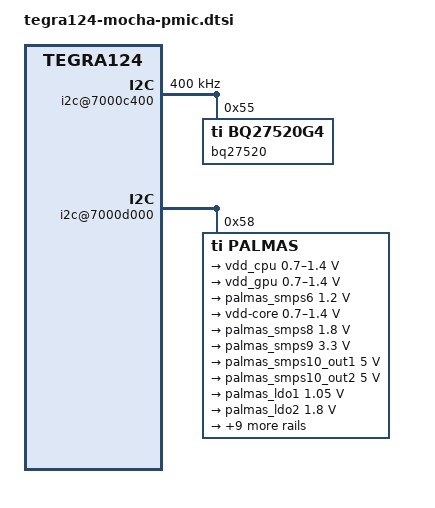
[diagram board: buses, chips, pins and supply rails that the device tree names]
/*
 * arch/arm/boot/dts/tegra124-mocha-pmic.dtsi
 *
 * Copyright (c) 2018, Alexandrov Dmitry.  All rights reserved.
 *
 * This program is free software; you can redistribute it and/or modify
 * it under the terms of the GNU General Public License as published by
 * the Free Software Foundation; either version 2 of the License, or
 * (at your option) any later version.
 *
 * This program is distributed in the hope that it will be useful, but WITHOUT
 * ANY WARRANTY; without even the implied warranty of MERCHANTABILITY or
 * FITNESS FOR A PARTICULAR PURPOSE.  See the GNU General Public License for
 * more details.
 *
 * You should have received a copy of the GNU General Public License along
 * with this program; if not, write to the Free Software Foundation, Inc.,
 * 51 Franklin Street, Fifth Floor, Boston, MA  02110-1301, USA.
 */

 #include <dt-bindings/gpio/tegra-gpio.h>

/ {
	i2c@7000c400 {
		status = "okay";
		clock-frequency = <400000>;

		bq27520@55 {
			compatible = "ti,bq27520g4";
			reg = <0x55>;

			
		};
	};

	i2c@7000d000 {
		palmas: tps65913@58 {
			compatible = "ti,palmas";
			reg = <0x58>;
			interrupts = <0 86 IRQ_TYPE_LEVEL_HIGH>;

			#interrupt-cells = <2>;
			interrupt-controller;
			
			ti,system-power-controller;

			palmas_gpio: gpio {
				compatible = "ti,palmas-gpio";
				gpio-controller;
				#gpio-cells = <2>;
			};

			rtc {
				compatible = "ti,palmas-rtc";
				interrupt-parent = <&palmas>;
				interrupts = <8 0>;
			};

			pinmux {
				compatible = "ti,tps65913-pinctrl";
				pinctrl-names = "default";
				pinctrl-0 = <&palmas_default>;

				palmas_default: pinmux {
					powergood {
						pins = "powergood";
						function = "powergood";
					};

					vac {
						pins = "vac";
						function = "vac";
					};

					pin_gpio0 {
						pins = "gpio0";
						function = "id";
						bias-pull-up;
					};

					pin_gpio1 {
						pins = "gpio1";
						function = "gpio";
					};

					pin_gpio6 {
						pins = "gpio2", "gpio3", "gpio4", "gpio6", "gpio7";
						function = "gpio";
					};

					pin_gpio5 {
						pins = "gpio5";
						function = "clk32kgaudio";
					};
				};
			};

			palmas_extcon: extcon {
				compatible = "ti,palmas-usb-vid";
				ti,wakeup;
				#extcon-cells = <0x1>;
				ti,enable-id-detection;
				ti,enable-vbus-detection;
			};

			clk32kgaudio: clk32kgaudio {
				compatible = "ti,palmas-clk32kgaudio";
				#clock-cells = <0>;
			};
			
			clk32kg {
				compatible = "ti,palmas-clk32kg";
				#clock-cells = <0>;
			};

			pmic {
				compatible = "ti,tps65913-pmic", "ti,palmas-pmic";
				ldo1-in-supply = <&palmas_smps6>;
				ldo2-in-supply = <&palmas_smps6>;
				ldo3-in-supply = <&palmas_smps10_out2>;
				ldo5-in-supply = <&palmas_smps8>;
				ldo6-in-supply = <&palmas_smps9>;
				ldo7-in-supply = <&palmas_smps9>;
				ldo9-in-supply = <&palmas_smps9>;
				ldoln-in-supply = <&palmas_smps10_out2>;
				smps10-out2-supply = <&palmas_smps10_out2>;

				regulators {
					vdd_cpu: smps123 {
						regulator-name = "vdd-cpu";
						regulator-min-microvolt = <700000>;
						regulator-max-microvolt = <1400000>;
						regulator-always-on;
						regulator-boot-on;
						ti,roof-floor = <1>;
						ti,config-flags = <8>;
					};

					vdd_gpu: smps45 {
						regulator-name = "vdd-gpu";
						regulator-min-microvolt = <700000>;
						regulator-max-microvolt = <1400000>;
						regulator-init-microvolt = <1000000>;
						regulator-boot-on;
					};

					palmas_smps6: smps6 {
						regulator-name = "vddio-ddr";
						regulator-always-on;
						regulator-boot-on;
						regulator-min-microvolt = <1200000>;
						regulator-max-microvolt = <1200000>;
					};

					smps7 {
						regulator-name = "vdd-core";
						regulator-min-microvolt = <700000>;
						regulator-max-microvolt = <1400000>;
						regulator-always-on;
						regulator-boot-on;
						ti,roof-floor = <3>;
					};

					palmas_smps8: smps8 {
						regulator-name = "vdd-1v8";
						regulator-always-on;
						regulator-boot-on;
						regulator-min-microvolt = <1800000>;
						regulator-max-microvolt = <1800000>;
					};

					palmas_smps9: smps9 {
						regulator-name = "vdd-snsr";
						regulator-min-microvolt = <3300000>;
						regulator-max-microvolt = <3300000>;
						regulator-always-on;
						regulator-boot-on;
					};

					palmas_smps10_out1: smps10_out1 {
						regulator-name = "vdd-out1-5v0";
						regulator-min-microvolt = <5000000>;
						regulator-max-microvolt = <5000000>;
						regulator-always-on;
						regulator-boot-on;
					};

					palmas_smps10_out2: smps10_out2 {
						regulator-name = "vdd-out2-5v0";
						regulator-min-microvolt = <5000000>;
						regulator-max-microvolt = <5000000>;
					};

					palmas_ldo1: ldo1 {
						regulator-name = "avdd-pll";
						regulator-always-on;
						regulator-boot-on;
						ti,roof-floor = <3>;
						regulator-min-microvolt = <1050000>;
						regulator-max-microvolt = <1050000>;
					};

					palmas_ldo2: ldo2 {
						regulator-name = "vdd-lcd-io";
						regulator-min-microvolt = <1800000>;
						regulator-max-microvolt = <1800000>;
						regulator-always-on;
						regulator-boot-on;
					};

					ldo3_reg: ldo3 {
						regulator-name = "vdd-touch";
						regulator-min-microvolt = <3300000>;
						regulator-max-microvolt = <3300000>;
					};

					ldo4 {
						regulator-name = "avdd-cam";
						regulator-min-microvolt = <2700000>;
						regulator-max-microvolt = <2700000>;
					};

					ldo5_reg: ldo5 {
						regulator-name = "avdd-dsi-csi";
						regulator-min-microvolt = <1200000>;
						regulator-max-microvolt = <1200000>;
					};

					ldo6 {
						regulator-name = "vdd-cam-af";
						regulator-min-microvolt = <1800000>;
						regulator-max-microvolt = <1800000>;
					};

					ldo7 {
						regulator-name = "avdd-cam-af";
						regulator-min-microvolt = <2700000>;
						regulator-max-microvolt = <2700000>;
					};

					ldo8 {
						regulator-name = "vdd-rtc";
						regulator-min-microvolt = <950000>;
						regulator-max-microvolt = <950000>;
						regulator-always-on;
						regulator-boot-on;
					};

					palmas_ldo9: ldo9 {
						regulator-name = "vddio-sdmmc-2";
						regulator-min-microvolt = <1800000>;
						regulator-max-microvolt = <3300000>;
					};

					palmas_ldoln: ldoln {
						regulator-name = "vddio-hv";
						regulator-always-on;
						regulator-boot-on;
						regulator-min-microvolt = <3300000>;
						regulator-max-microvolt = <3300000>;
					};

					ldousb_reg: ldousb {
						regulator-name = "avdd-usb";
						regulator-always-on;
						regulator-boot-on;
						regulator-min-microvolt = <3300000>;
						regulator-max-microvolt = <3300000>;
					};
				};
			};
		};
	};
};
